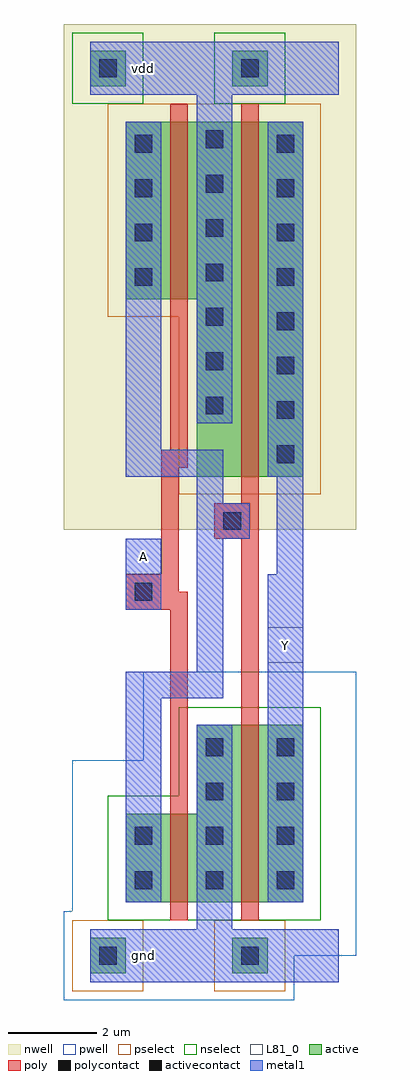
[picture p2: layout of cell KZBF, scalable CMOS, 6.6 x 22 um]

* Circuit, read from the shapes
.subckt KZBF A Y gnd vdd
M1 gnd A n1 gnd nfet w=2u l=0.4u
M2 Y n1 gnd gnd nfet w=4u l=0.4u
M3 vdd A n1 vdd pfet w=4u l=0.4u
M4 Y n1 vdd vdd pfet w=8u l=0.4u
.ends

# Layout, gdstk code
import gdstk
lib = gdstk.Library(unit=1e-6, precision=1e-09)
def R(c, l, rs):  # rectangles x0, y0, x1, y1
    for r in rs: c.add(gdstk.rectangle(r[:2], r[2:], *l))
def A(c, l, x, y, w, h, nx, ny, dx, dy):  # array of equal rectangles
    R(c, l, [(x+i*dx, y+j*dy, x+i*dx+w, y+j*dy+h) for i in range(nx) for j in range(ny)])
pwell = (41, 0)
nwell = (42, 0)
active = (43, 0)
pselect = (44, 0)
nselect = (45, 0)
poly = (46, 0)
polycontact = (47, 0)
activecontact = (48, 0)
metal1 = (49, 0)
L81_0 = (81, 0)

kzbf = lib.new_cell('KZBF')
R(kzbf, pwell, [(-1,-1,4.2,0), (-1,0,5.6,1), (-0.8,1,5.6,4.4), (0.8,4.4,5.6,6.4)])
R(kzbf, nwell, [(-1,9.6,5.6,21)])
R(kzbf, active, [(-0.4,-0.4,0.4,0.4), (2.8,-0.4,3.6,0.4), (0.4,1.2,4.4,3.2), (2,3.2,4.4,5.2), (2,10.8,4.4,14.8), (0.4,14.8,4.4,18.8), (-0.4,19.6,0.4,20.4), (2.8,19.6,3.6,20.4)])
R(kzbf, pselect, [(-0.8,-0.8,0.8,0.8), (2.4,-0.8,4,0.8), (1.6,10.4,4.8,14.4), (0,14.4,4.8,19.2)])
R(kzbf, nselect, [(0,0.8,4.8,3.6), (1.6,3.6,4.8,5.6), (-0.8,19.2,0.8,20.8), (2.4,19.2,4,20.8)])
R(kzbf, poly, [(1.4,0.8,1.8,7.8), (3,0.8,3.4,9.4), (0.4,7.8,1.8,8.2), (0.4,8.2,1.6,8.6), (1.2,8.6,1.6,11), (2.4,9.4,3.4,10.2), (3,10.2,3.4,19.2), (1.2,11,1.8,11.4), (1.4,11.4,1.8,19.2)])
R(kzbf, polycontact, [(0.6,8,1,8.4), (2.6,9.6,3,10)])
A(kzbf, activecontact, 0.6, 1.5, 0.4, 0.4, 3, 2, 1.6, 1)
A(kzbf, activecontact, 3.8, 11.1, 0.4, 0.4, 1, 8, 0, 1)
A(kzbf, activecontact, 2.2, 12.2, 0.4, 0.4, 1, 7, 0, 1)
A(kzbf, activecontact, 0.6, 15.1, 0.4, 0.4, 1, 4, 0, 1)
R(kzbf, activecontact, [(-0.2,-0.2,0.2,0.2), (3,-0.2,3.4,0.2), (2.2,3.5,2.6,3.9), (3.8,3.5,4.2,3.9), (2.2,4.5,2.6,4.9), (3.8,4.5,4.2,4.9), (-0.2,19.8,0.2,20.2), (3,19.8,3.4,20.2)])
R(kzbf, metal1, [(-0.4,-0.6,5.2,0.6), (2,0.6,2.8,5.2), (0.4,1.2,1.2,5.8), (3.6,1.2,4.4,8.6), (0.4,5.8,2.6,6.4), (2,6.4,2.6,9.4), (0.4,7.8,1.2,9.4), (3.8,8.6,4.4,10.8), (2,9.4,3.2,10.2), (2,10.2,2.6,10.8), (0.4,10.8,2.6,11.4), (3.6,10.8,4.4,18.8), (0.4,11.4,1.2,18.8), (2,12,2.8,19.4), (-0.4,19.4,5.2,20.6)])
R(kzbf, L81_0, [(3.6,6.6,4.4,7.4), (0.4,8.6,1.2,9.4)])
kzbf.add(gdstk.Label('vdd', (0.8,20), layer=49, texttype=0))
kzbf.add(gdstk.Label('gnd', (0.8,0), layer=49, texttype=0))
kzbf.add(gdstk.Label('A', (0.8,9), layer=49, texttype=0))
kzbf.add(gdstk.Label('Y', (4,7), layer=49, texttype=0))

lib.write_gds('KZBF.gds')
